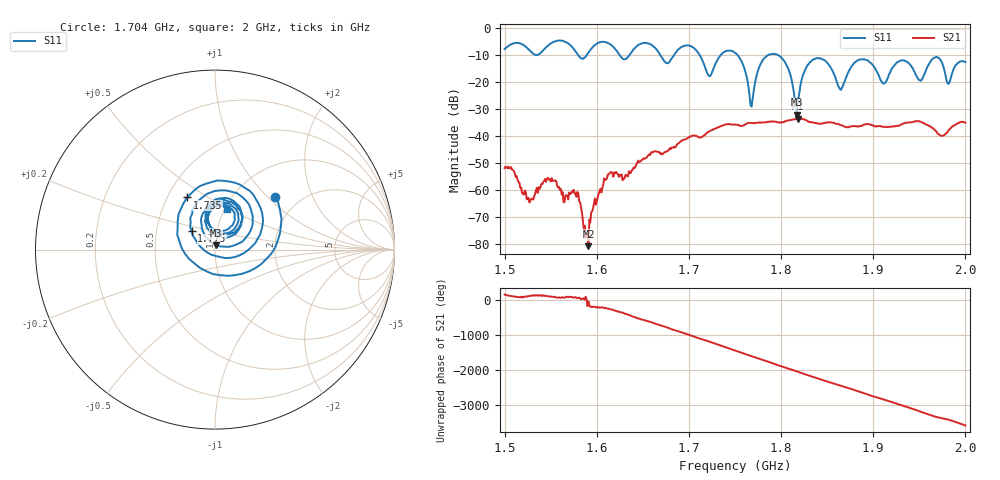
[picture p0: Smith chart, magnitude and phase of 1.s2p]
! NanoVNA-App by SYSJOINT et al v1.1.209 (+OD18)
! Date: 2026-01-21 14:48:06
! Start: 1,5GHz Stop: 2GHz Points: 501
! S-Parameter data: F S11 S21 S12 S22
# Hz S RI R 50
!  Frequency  S11_Real  S11_Imag  S21_Real  S21_Imag  S12_Real  S12_Imag  S22_Real  S22_Imag
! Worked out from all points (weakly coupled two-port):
!   501 points, 1.5 GHz to 2 GHz, reference 50 ohm
!   highest |S21| = -33.52 dB at 1.818 GHz (marker M1); lowest = -80.8 dB at 1.591 GHz (marker M2)
!   lowest |S11| = -32.0 dB at 1.817 GHz (marker M3), VSWR 1.05, Z = 50.6 + j2.45 ohm
!   |S11| at or under -10 dB: 1.712 GHz to 1.734 GHz (22.32 MHz wide, 1.3 % of centre); 1.753 GHz to 1.785 GHz (32.39 MHz wide, 1.83 % of centre); 1.797 GHz to end of sweep (the widest 3 of 6)
!   S12 and S22 are empty: the file has one direction only
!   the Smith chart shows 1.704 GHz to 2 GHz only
!   S11 on the Smith chart (normalised r, x): 1.704 GHz: 1.52, +1.11; 1.735 GHz: 0.63, +0.41; 1.775 GHz: 0.76, +0.16; 2 GHz: 1.02, +0.49
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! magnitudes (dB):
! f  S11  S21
! 1.5 GHz  -7.7  -51.8
! 1.526 GHz  -7.7  -62.9
! 1.546 GHz  -6.7  -55.9
! 1.577 GHz  -8.6  -61.3
! 1.584 GHz  -11.2  -68.5
! 1.591 GHz  -9.0  -80.8
! 1.614 GHz  -5.7  -53.8
! 1.667 GHz  -8.8  -45.9
! 1.704 GHz  -7.0  -39.8
! 1.722 GHz  -17.7  -38.2
! 1.735 GHz  -9.6  -36.2
! 1.75 GHz  -9.1  -35.7
! 1.768 GHz  -29.0  -35.1
! 1.775 GHz  -15.6  -35.0
! 1.799 GHz  -10.4  -34.8
! 1.817 GHz  -32.0  -33.6
! 1.818 GHz  -29.0  -33.5
! 1.834 GHz  -11.7  -34.9
! 1.864 GHz  -22.6  -35.8
! 1.885 GHz  -11.6  -36.3
! 1.917 GHz  -17.2  -36.5
! 2 GHz  -12.5  -35.0
